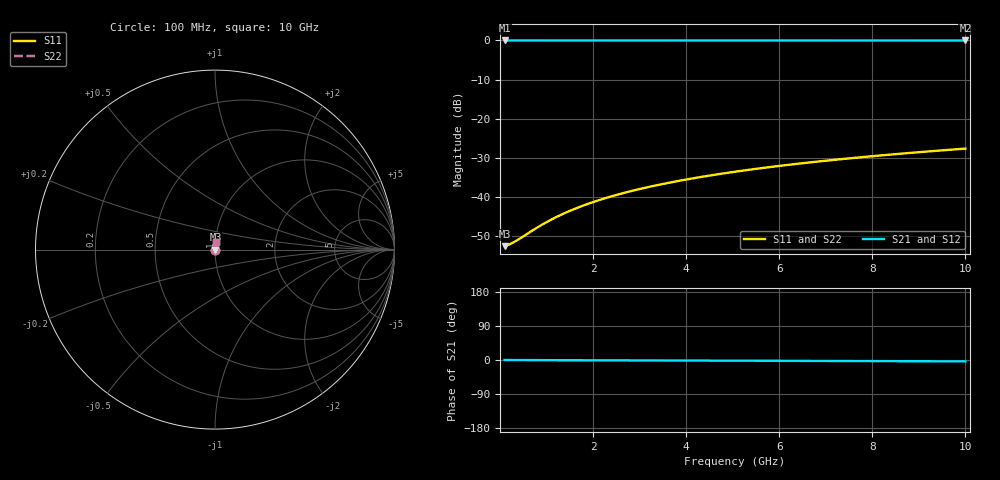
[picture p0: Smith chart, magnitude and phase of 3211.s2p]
# Hz S RI R 50.00
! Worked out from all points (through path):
!   100 points, 100 MHz to 10 GHz, reference 50 ohm
!   highest |S21| = -0.02 dB at 100 MHz (marker M1); lowest = 0.0 dB at 10 GHz (marker M2)
!   lowest |S11| = -52.5 dB at 100 MHz (marker M3), VSWR 1.00, Z = 50.2 + j0.0415 ohm
!   |S11| at or under -10 dB: start of sweep to end of sweep
!   |S22| runs from -52.5 to -27.6 dB; largest |S21 - S12| = 0
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1e8  0.00233 0.000413  0.9977 -0.000634  0.9977 -0.000634  0.00233 0.000413
2e8  0.00235 0.000826  0.9977 -0.00127  0.9977 -0.00127  0.00235 0.000826
3e8  0.00236 0.00124  0.9976 -0.0019  0.9976 -0.0019  0.00236 0.00124
4e8  0.00237 0.00165  0.9976 -0.00253  0.9976 -0.00253  0.00237 0.00165
8e8  0.00241 0.0033  0.9976 -0.00507  0.9976 -0.00507  0.00241 0.0033
1.1e9  0.00244 0.00454  0.9976 -0.00697  0.9976 -0.00697  0.00244 0.00454
1.4e9  0.00247 0.00578  0.9975 -0.00887  0.9975 -0.00887  0.00247 0.00578
1.6e9  0.00249 0.0066  0.9975 -0.0101  0.9975 -0.0101  0.00249 0.0066
1.8e9  0.00252 0.00743  0.9975 -0.0114  0.9975 -0.0114  0.00252 0.00743
2.1e9  0.00256 0.00867  0.9974 -0.0133  0.9974 -0.0133  0.00256 0.00867
2.5e9  0.00262 0.0103  0.9974 -0.0158  0.9974 -0.0158  0.00262 0.0103
2.9e9  0.00268 0.012  0.9973 -0.0184  0.9973 -0.0184  0.00268 0.012
3.4e9  0.00278 0.014  0.9972 -0.0215  0.9972 -0.0215  0.00278 0.014
3.8e9  0.00286 0.0157  0.9971 -0.0241  0.9971 -0.0241  0.00286 0.0157
4.2e9  0.00295 0.0173  0.997 -0.0266  0.997 -0.0266  0.00295 0.0173
4.6e9  0.00305 0.019  0.9969 -0.0292  0.9969 -0.0292  0.00305 0.019
5.1e9  0.00319 0.021  0.9967 -0.0323  0.9967 -0.0323  0.00319 0.021
5.9e9  0.00344 0.0243  0.9965 -0.0374  0.9965 -0.0374  0.00344 0.0243
6.7e9  0.00372 0.0276  0.9962 -0.0425  0.9962 -0.0425  0.00372 0.0276
7.5e9  0.00403 0.0309  0.9958 -0.0475  0.9958 -0.0475  0.00403 0.0309
8.4e9  0.00442 0.0347  0.9954 -0.0533  0.9954 -0.0533  0.00442 0.0347
1e10  0.00522 0.0412  0.9945 -0.0634  0.9945 -0.0634  0.00522 0.0412
